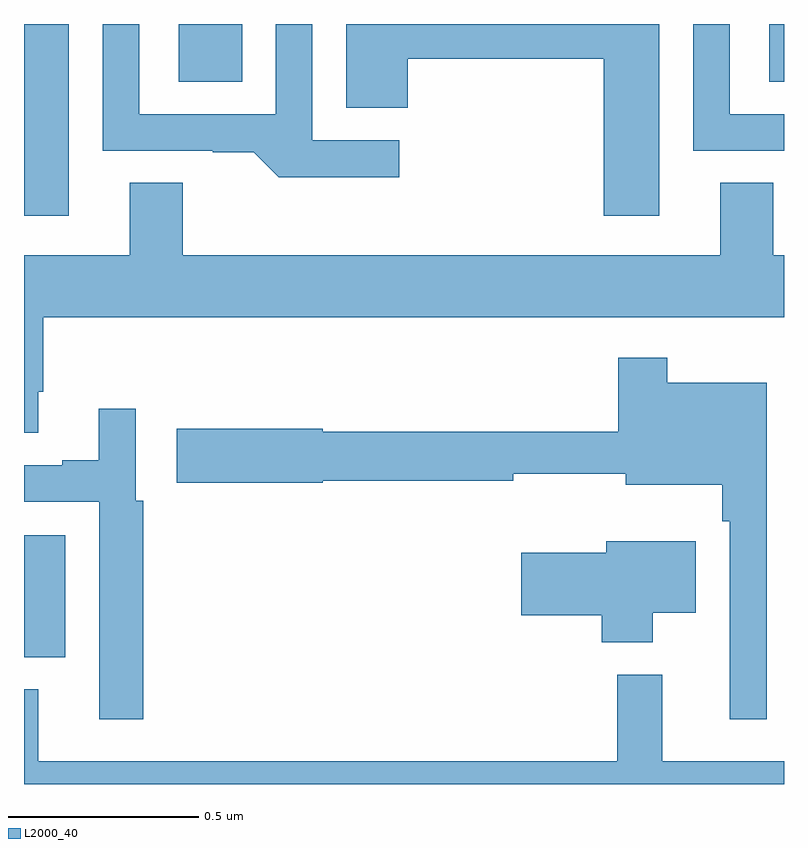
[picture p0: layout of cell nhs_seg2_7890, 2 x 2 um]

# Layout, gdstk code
import gdstk
lib = gdstk.Library(unit=1e-6, precision=1e-09)
def R(c, l, rs):  # rectangles x0, y0, x1, y1
    for r in rs: c.add(gdstk.rectangle(r[:2], r[2:], *l))
def P(c, l, *ps):  # polygons
    for p in ps: c.add(gdstk.Polygon(p, *l))
L2000_40 = (2000, 40)

nhs_seg2_7890 = lib.new_cell('nhs_seg2_7890')
R(nhs_seg2_7890, L2000_40, [(210,588.134,210.109,588.454), (210,589.296,210.118,589.8), (210.407,589.648,210.574,589.8), (211.961,589.648,212,589.8)])
P(nhs_seg2_7890, L2000_40, [(210.988,589.494),(210.759,589.494),(210.759,589.8),(210.663,589.8),(210.663,589.563),(210.303,589.563),(210.303,589.8),(210.207,589.8),(210.207,589.467),(210.497,589.467),(210.497,589.462),(210.605,589.462),(210.671,589.397),(210.988,589.397)],
  [(211.672,589.8),(210.848,589.8),(210.848,589.579),(211.01,589.579),(211.01,589.708),(211.526,589.708),(211.526,589.296),(211.672,589.296)],
  [(212,589.563),(211.857,589.563),(211.857,589.8),(211.761,589.8),(211.761,589.467),(212,589.467)],
  [(210.037,588.832),(210.05,588.832),(210.05,589.028),(212,589.028),(212,589.192),(211.972,589.192),(211.972,589.382),(211.832,589.382),(211.832,589.192),(210.418,589.192),(210.418,589.382),(210.278,589.382),(210.278,589.192),(210,589.192),(210,588.724),(210.037,588.724)],
  [(211.954,588.856),(211.693,588.856),(211.693,588.922),(211.564,588.922),(211.564,588.727),(210.786,588.727),(210.786,588.735),(210.402,588.735),(210.402,588.593),(210.786,588.593),(210.786,588.598),(211.287,588.598),(211.287,588.617),(211.583,588.617),(211.583,588.587),(211.837,588.587),(211.837,588.491),(211.857,588.491),(211.857,587.97),(211.954,587.97)],
  [(210.314,588.546),(210.294,588.546),(210.294,588.787),(210.197,588.787),(210.197,588.652),(210.101,588.652),(210.101,588.639),(210,588.639),(210,588.543),(210.198,588.543),(210.198,587.97),(210.314,587.97)],
  [(211.654,588.251),(211.768,588.251),(211.768,588.439),(211.532,588.439),(211.532,588.409),(211.308,588.409),(211.308,588.244),(211.52,588.244),(211.52,588.173),(211.654,588.173)],
  [(212,587.86),(211.679,587.86),(211.679,588.088),(211.561,588.088),(211.561,587.86),(210.037,587.86),(210.037,588.049),(210,588.049),(210,587.8),(212,587.8)])

lib.write_gds('nhs_seg2_7890.gds')
